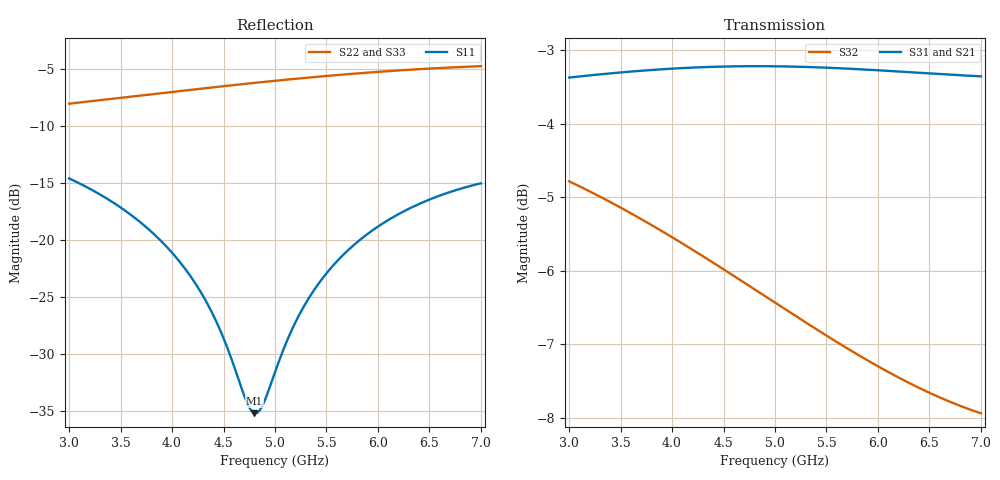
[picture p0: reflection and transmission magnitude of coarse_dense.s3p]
! yapnr rf: divider-osh-m-star-m-nom-fwd, footprint re-simulated (optimization grid)
! spec sha256 bca0671be0a1030c57dfc40b246688132a6c111217a427a9ce54e2d0587478ed
! 3 ports renormalized to 50 ohm, e^(+jwt) convention
# GHz S RI R 50
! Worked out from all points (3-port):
!   161 points, 3 GHz to 7 GHz, reference 50 ohm
!   strongest paths, dB at 3 GHz, 4 GHz, 5 GHz, 6 GHz, 7 GHz:
!     S31: -3.4, -3.3, -3.2, -3.3, -3.4
!     S21: -3.4, -3.3, -3.2, -3.3, -3.4
!     S32: -4.8, -5.5, -6.4, -7.3, -7.9
!   lowest |S11| = -35.2 dB at 4.8 GHz (marker M1), VSWR 1.04, Z = 51.7 - j0.368 ohm
!   |S11| at or under -10 dB: start of sweep to end of sweep
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3  -0.0727 0.1715  0.0987 -0.6709  0.0987 -0.6709
   0.0986 -0.6708  0.142 0.3692  -0.1539 -0.5555
   0.0986 -0.6708  -0.1539 -0.5555  0.142 0.3692
3.625  -0.0128 0.1258  -0.1111 -0.6756  -0.1111 -0.6756
       -0.1111 -0.6756  0.2805 0.3203  -0.3249 -0.4401
       -0.1111 -0.6756  -0.3249 -0.4401  0.2805 0.3203
4.1  0.0144 0.0763  -0.2681 -0.6339  -0.2681 -0.6339
     -0.2681 -0.6338  0.3733 0.2522  -0.4116 -0.3226
     -0.2681 -0.6338  -0.4116 -0.3226  0.3733 0.2522
4.4  0.0212 0.0419  -0.3608 -0.5877  -0.3608 -0.5877
     -0.3607 -0.5876  0.423 0.1967  -0.4457 -0.2426
     -0.3607 -0.5876  -0.4457 -0.2426  0.423 0.1967
4.8  0.0171 -0.00356  -0.4712 -0.5044  -0.4712 -0.5044
     -0.4712 -0.5044  0.4752 0.1101  -0.4675 -0.1357
     -0.4712 -0.5044  -0.4675 -0.1357  0.4752 0.1101
5  0.00951 -0.0246  -0.5193 -0.4546  -0.5193 -0.4546
   -0.5193 -0.4545  0.4943 0.0624  -0.4693 -0.0839
   -0.5193 -0.4545  -0.4693 -0.0839  0.4943 0.0624
5.3  -0.00795 -0.0524  -0.581 -0.3713  -0.581 -0.3713
     -0.5809 -0.3712  0.5132 -0.0132  -0.462 -0.0102
     -0.5809 -0.3712  -0.462 -0.0102  0.5132 -0.0132
5.725  -0.0428 -0.081  -0.6443 -0.24  -0.6443 -0.24
       -0.6442 -0.24  0.5186 -0.1247  -0.4348 0.0837
       -0.6442 -0.24  -0.4348 0.0837  0.5186 -0.1247
6.3  -0.0998 -0.094  -0.6822 -0.0491  -0.6822 -0.0491
     -0.6821 -0.049  0.4851 -0.273  -0.3758 0.1886
     -0.6821 -0.049  -0.3758 0.1886  0.4851 -0.273
7  -0.164 -0.0672  -0.6546 0.182  -0.6546 0.182
   -0.6545 0.1821  0.3869 -0.4285  -0.2839 0.283
   -0.6545 0.1821  -0.2839 0.283  0.3869 -0.4285
